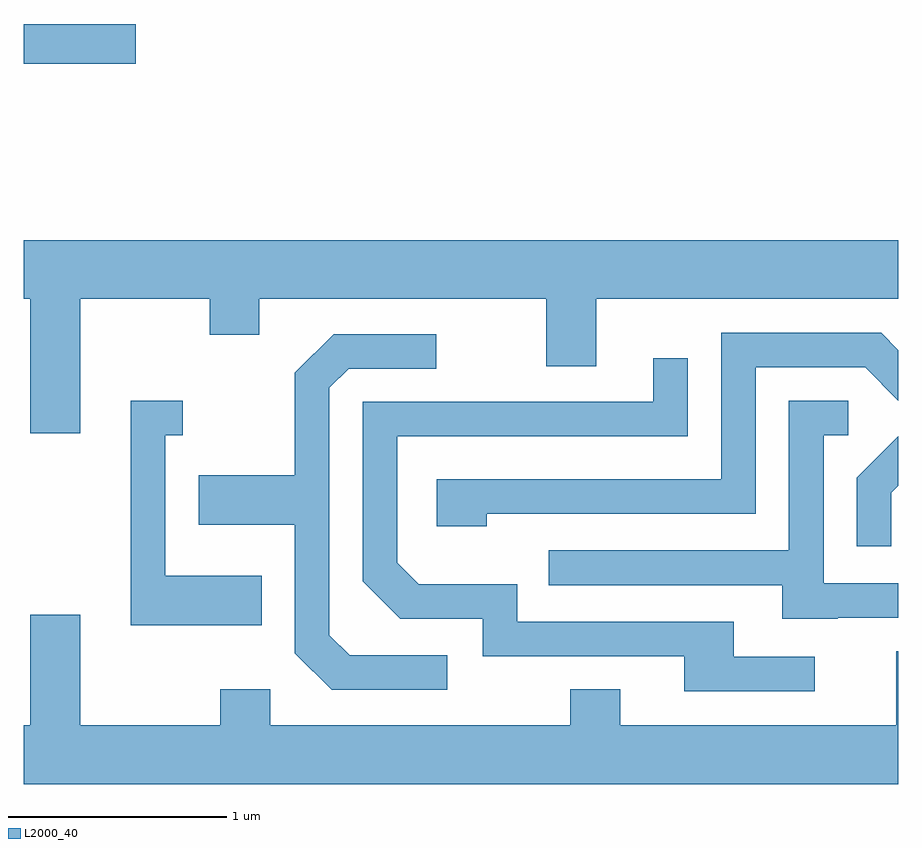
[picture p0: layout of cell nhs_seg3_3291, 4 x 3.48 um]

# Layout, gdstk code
import gdstk
lib = gdstk.Library(unit=1e-6, precision=1e-09)
def R(c, l, rs):  # rectangles x0, y0, x1, y1
    for r in rs: c.add(gdstk.rectangle(r[:2], r[2:], *l))
def P(c, l, *ps):  # polygons
    for p in ps: c.add(gdstk.Polygon(p, *l))
L2000_40 = (2000, 40)

nhs_seg3_3291 = lib.new_cell('nhs_seg3_3291')
R(nhs_seg3_3291, L2000_40, [(281.611,1173.711,282.124,1173.892)])
P(nhs_seg3_3291, L2000_40, [(281.869,1172.636),(282.461,1172.636),(282.461,1172.471),(282.689,1172.471),(282.689,1172.636),(284.001,1172.636),(284.001,1172.326),(284.229,1172.326),(284.229,1172.636),(285.611,1172.636),(285.611,1172.904),(281.611,1172.904),(281.611,1172.636),(281.641,1172.636),(281.641,1172.021),(281.869,1172.021)],
  [(283.729,1171.651),(284.959,1171.651),(284.959,1172.321),(285.459,1172.321),(285.611,1172.169),(285.611,1172.4),(285.532,1172.479),(284.801,1172.479),(284.801,1171.809),(283.501,1171.809),(283.501,1171.596),(283.729,1171.596)],
  [(283.548,1171.004),(283.102,1171.004),(283.009,1171.097),(283.009,1172.229),(283.097,1172.316),(283.498,1172.316),(283.498,1172.474),(283.029,1172.474),(282.851,1172.297),(282.851,1171.829),(282.411,1171.829),(282.411,1171.601),(282.851,1171.601),(282.851,1171.014),(283.019,1170.846),(283.548,1170.846)],
  [(285.228,1170.999),(284.859,1170.999),(284.859,1171.159),(283.869,1171.159),(283.869,1171.329),(283.417,1171.329),(283.319,1171.427),(283.319,1172.006),(284.649,1172.006),(284.649,1172.363),(284.491,1172.363),(284.491,1172.164),(283.161,1172.164),(283.161,1171.344),(283.334,1171.171),(283.711,1171.171),(283.711,1171.001),(284.631,1171.001),(284.631,1170.841),(285.228,1170.841)],
  [(285.335,1171.176),(285.611,1171.176),(285.611,1171.334),(285.269,1171.334),(285.269,1172.011),(285.383,1172.011),(285.383,1172.169),(285.111,1172.169),(285.111,1171.484),(284.013,1171.484),(284.013,1171.326),(285.081,1171.326),(285.081,1171.171),(285.335,1171.171)],
  [(282.699,1171.369),(282.259,1171.369),(282.259,1172.011),(282.338,1172.011),(282.338,1172.169),(282.101,1172.169),(282.101,1171.141),(282.699,1171.141)],
  [(285.579,1171.749),(285.611,1171.781),(285.611,1172.006),(285.421,1171.817),(285.421,1171.503),(285.579,1171.503)],
  [(285.611,1171.024),(285.601,1171.024),(285.601,1170.684),(284.339,1170.684),(284.339,1170.849),(284.111,1170.849),(284.111,1170.684),(282.739,1170.684),(282.739,1170.849),(282.511,1170.849),(282.511,1170.684),(281.869,1170.684),(281.869,1171.189),(281.641,1171.189),(281.641,1170.684),(281.611,1170.684),(281.611,1170.416),(285.611,1170.416)])

lib.write_gds('nhs_seg3_3291.gds')
